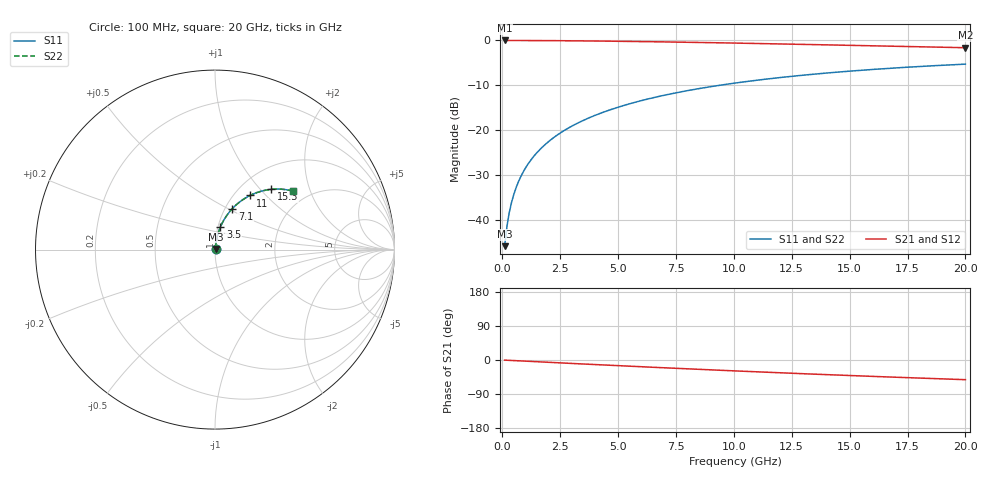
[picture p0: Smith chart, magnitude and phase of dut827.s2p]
! Touchstone file exported from HFSS 2026.1.0
!  File:  C:/ffzhzh/LocalFiles/Ansys_Project_Files/temp_train_TMRDL_827_1783156554_43440.aedt
!  Generated:  05:17:23 PM Jul  4, 2026
!  Design:  TMRDL
!  Project:  temp_train_TMRDL_827_1783156554_43440
! Variables:
!  h_bsmrdl = 2um
!  h_ox = 20um
!  h_rdl = 5um
!  h_sub = 80um
!  h_tmrdl = 5.34um
!  h_tsv = 80um
!  h_via = 3um
!  l_bsmrdl = 300um
!  l_sub = 1130.8um
!  l_tmrdl = 730.8um
!  m_sub = 200um
!  pitch = 56.36um
!  r_tsv = 6um
!  s_tmrdl = 10um
!  w_bsmrdl = 18um
!  w_sub = 500um
!  w_tmrdl = 14.96um
!  x_tsv_center1 = 738.28um
!  x_tsv_center2 = 1056.28um
!  x_tsv_center3 = 1802.04um
!  x_tsv_center4 = 2120.04um
!  x_tsv_center5 = 2865.8um
!  x_tsv_center6 = 3183.8um
# GHz S MA R 50.000000
! Terminal data exported
! Port[1] = TM_RDL1_1_T1
! Port[2] = TM_RDL1_1_T2
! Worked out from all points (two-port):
!   200 points, 100 MHz to 20 GHz, reference 50 ohm
!   highest |S21| = -0.03 dB at 100 MHz (marker M1); lowest = -1.6 dB at 20 GHz (marker M2)
!   |S21| within 3 dB of the highest: start of sweep to end of sweep
!   lowest |S11| = -45.8 dB at 100 MHz (marker M3), VSWR 1.01, Z = 50.3 + j0.39 ohm
!   |S11| at or under -10 dB: start of sweep to 9.399 GHz
!   |S22| runs from -45.8 to -5.3 dB; largest |S21 - S12| = 1.3e-14
!   S11 on the Smith chart (normalised r, x): 100 MHz: 1.01, +0.01; 3.5 GHz: 1.03, +0.26; 7.1 GHz: 1.08, +0.53; 11 GHz: 1.18, +0.82; 15.3 GHz: 1.35, +1.15; 20 GHz: 1.66, +1.53
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0.1  0.00511 49.4  0.9967 -0.3  0.9967 -0.3  0.00511 49.4
! Gamma 0 0 0 0
! Port Impedance 50 0 50 0
0.2  0.008453 65.6  0.9966 -0.6  0.9966 -0.6  0.008453 65.6
0.3  0.01205 72.1  0.9964 -0.9  0.9964 -0.9  0.01205 72.1
0.4  0.01569 75.5  0.9963 -1.2  0.9963 -1.2  0.01569 75.5
0.5  0.01936 77.5  0.9961 -1.5  0.9961 -1.5  0.01936 77.5
0.7  0.02673 79.7  0.9959 -2.2  0.9959 -2.2  0.02673 79.7
1  0.03783 80.9  0.9953 -3.1  0.9953 -3.1  0.03783 80.9
1.4  0.05262 81.1  0.9944 -4.3  0.9944 -4.3  0.05262 81.1
2  0.07467 80.3  0.9925 -6.1  0.9925 -6.1  0.07467 80.3
2.7  0.1001 78.8  0.9897 -8.2  0.9897 -8.2  0.1001 78.8
3.5  0.1285 76.7  0.9856 -10.6  0.9856 -10.6  0.1285 76.7
4.2  0.1529 74.8  0.9815 -12.6  0.9815 -12.6  0.1529 74.8
5  0.18 72.7  0.9762 -14.9  0.9762 -14.9  0.18 72.7
6.8  0.2386 67.8  0.9623 -20.0  0.9623 -20.0  0.2386 67.8
7.1  0.248 67.1  0.9597 -20.9  0.9597 -20.9  0.248 67.0
8.5  0.2903 63.4  0.9471 -24.7  0.9471 -24.7  0.2903 63.4
10.1  0.3357 59.3  0.9315 -28.9  0.9315 -28.9  0.3357 59.3
11  0.3598 57.0  0.9222 -31.2  0.9222 -31.2  0.3598 57.0
13.4  0.4187 51.3  0.8967 -37.2  0.8967 -37.2  0.4187 51.2
15.3  0.46 46.9  0.8762 -41.7  0.8762 -41.7  0.46 46.9
16.7  0.4875 43.8  0.8613 -44.9  0.8613 -44.9  0.4875 43.8
20  0.5431 36.9  0.8277 -51.9  0.8277 -51.9  0.5431 36.8
